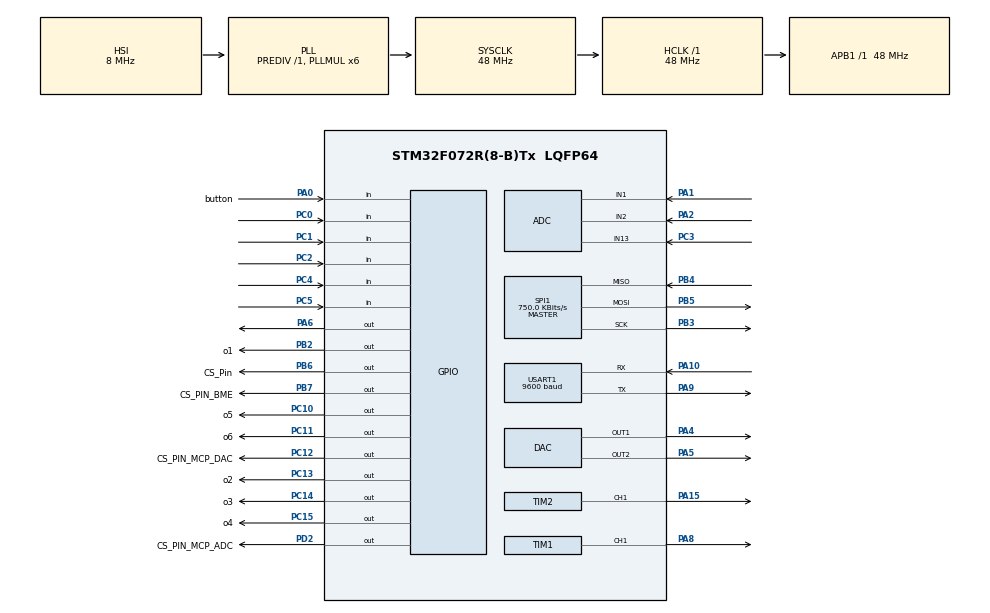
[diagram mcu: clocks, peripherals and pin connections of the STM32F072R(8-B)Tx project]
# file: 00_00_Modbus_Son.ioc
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ADC.ContinuousConvMode=DISABLE
ADC.DMAContinuousRequests=ENABLE
ADC.SamplingTime=ADC_SAMPLETIME_41CYCLES_5
Dma.ADC.0.Direction=DMA_PERIPH_TO_MEMORY
Dma.ADC.0.Instance=DMA1_Channel1
Dma.ADC.0.MemDataAlignment=DMA_MDATAALIGN_HALFWORD
Dma.ADC.0.MemInc=DMA_MINC_ENABLE
Dma.ADC.0.Mode=DMA_CIRCULAR
Dma.ADC.0.PeriphDataAlignment=DMA_PDATAALIGN_HALFWORD
Dma.ADC.0.PeriphInc=DMA_PINC_DISABLE
Dma.ADC.0.Priority=DMA_PRIORITY_MEDIUM
Dma.DAC_CH1.1.Direction=DMA_MEMORY_TO_PERIPH
Dma.DAC_CH1.1.Instance=DMA1_Channel3
Dma.DAC_CH1.1.MemDataAlignment=DMA_MDATAALIGN_HALFWORD
Dma.DAC_CH1.1.MemInc=DMA_MINC_ENABLE
Dma.DAC_CH1.1.Mode=DMA_CIRCULAR
Dma.DAC_CH1.1.PeriphDataAlignment=DMA_PDATAALIGN_HALFWORD
Dma.DAC_CH1.1.PeriphInc=DMA_PINC_DISABLE
Dma.DAC_CH1.1.Priority=DMA_PRIORITY_LOW
Dma.DAC_CH2.2.Direction=DMA_MEMORY_TO_PERIPH
Dma.DAC_CH2.2.Instance=DMA1_Channel4
Dma.DAC_CH2.2.MemDataAlignment=DMA_MDATAALIGN_HALFWORD
Dma.DAC_CH2.2.MemInc=DMA_MINC_ENABLE
Dma.DAC_CH2.2.Mode=DMA_CIRCULAR
Dma.DAC_CH2.2.PeriphDataAlignment=DMA_PDATAALIGN_HALFWORD
Dma.DAC_CH2.2.PeriphInc=DMA_PINC_DISABLE
Dma.DAC_CH2.2.Priority=DMA_PRIORITY_LOW
Dma.Request0=ADC
Dma.Request1=DAC_CH1
Dma.Request2=DAC_CH2
Mcu.Family=STM32F0
Mcu.Name=STM32F072R(8-B)Tx
Mcu.Package=LQFP64
NVIC.DMA1_Channel1_IRQn=true\:0\:0\:false\:false\:true\:false\:true
NVIC.DMA1_Channel2_3_IRQn=true\:0\:0\:false\:false\:true\:false\:true
NVIC.DMA1_Channel4_5_6_7_IRQn=true\:0\:0\:false\:false\:true\:false\:true
NVIC.TIM2_IRQn=true\:0\:0\:false\:false\:true\:true\:true
NVIC.TIM6_DAC_IRQn=true\:0\:0\:false\:false\:true\:true\:true
NVIC.USART1_IRQn=true\:0\:0\:false\:false\:true\:true\:true
PA0.GPIO_Label=button
PA0.GPIO_PuPd=GPIO_PULLDOWN
PA0.Signal=GPIO_Input
PA1.Mode=IN1
PA1.Signal=ADC_IN1
PA10.Mode=Asynchronous
PA10.Signal=USART1_RX
PA13.Mode=Serial_Wire
PA13.Signal=SYS_SWDIO
PA14.Mode=Serial_Wire
PA14.Signal=SYS_SWCLK
PA15.Signal=S_TIM2_CH1_ETR
PA2.Mode=IN2
PA2.Signal=ADC_IN2
PA4.Signal=COMP_DAC1_group
PA5.Signal=COMP_DAC2_group
PA6.Signal=GPIO_Output
PA8.Signal=S_TIM1_CH1
PA9.Mode=Asynchronous
PA9.Signal=USART1_TX
PB2.GPIO_Label=o1
PB2.Signal=GPIO_Output
PB3.Mode=Full_Duplex_Master
PB3.Signal=SPI1_SCK
PB4.Mode=Full_Duplex_Master
PB4.Signal=SPI1_MISO
PB5.Mode=Full_Duplex_Master
PB5.Signal=SPI1_MOSI
PB6.GPIO_Label=CS_Pin
PB6.Signal=GPIO_Output
PB7.GPIO_Label=CS_PIN_BME
PB7.Signal=GPIO_Output
PC0.GPIO_PuPd=GPIO_PULLDOWN
PC0.Signal=GPIO_Input
PC1.GPIO_PuPd=GPIO_PULLDOWN
PC1.Signal=GPIO_Input
PC10.GPIO_Label=o5
PC10.GPIO_Speed=GPIO_SPEED_FREQ_MEDIUM
PC10.Signal=GPIO_Output
PC11.GPIO_Label=o6
PC11.GPIO_Speed=GPIO_SPEED_FREQ_MEDIUM
PC11.Signal=GPIO_Output
PC12.GPIO_Label=CS_PIN_MCP_DAC
PC12.Signal=GPIO_Output
PC13.GPIO_Label=o2
PC13.Signal=GPIO_Output
PC14-OSC32_IN.GPIO_Label=o3
PC14-OSC32_IN.Signal=GPIO_Output
PC15-OSC32_OUT.GPIO_Label=o4
PC15-OSC32_OUT.Signal=GPIO_Output
PC2.GPIO_PuPd=GPIO_PULLDOWN
PC2.Signal=GPIO_Input
PC3.Mode=IN13
PC3.Signal=ADC_IN13
PC4.GPIO_PuPd=GPIO_PULLDOWN
PC4.Signal=GPIO_Input
PC5.GPIO_PuPd=GPIO_PULLDOWN
PC5.Signal=GPIO_Input
PD2.GPIO_Label=CS_PIN_MCP_ADC
PD2.Signal=GPIO_Output
ProjectManager.HeapSize=0x200
ProjectManager.StackSize=0x400
ProjectManager.TargetToolchain=STM32CubeIDE
RCC.AHBFreq_Value=48000000
RCC.APB1Freq_Value=48000000
RCC.APB1TimFreq_Value=48000000
RCC.HCLKFreq_Value=48000000
RCC.PLLMUL=RCC_PLL_MUL6
RCC.SYSCLKFreq_VALUE=48000000
RCC.SYSCLKSource=RCC_SYSCLKSOURCE_PLLCLK
SH.COMP_DAC1_group.0=DAC_OUT1,DAC_OUT1
SH.COMP_DAC2_group.0=DAC_OUT2,DAC_OUT2
SH.S_TIM1_CH1.0=TIM1_CH1,PWM Generation1 CH1
SH.S_TIM2_CH1_ETR.0=TIM2_CH1,PWM Generation1 CH1
SPI1.BaudRatePrescaler=SPI_BAUDRATEPRESCALER_64
SPI1.CalculateBaudRate=750.0 KBits/s
SPI1.DataSize=SPI_DATASIZE_8BIT
SPI1.Direction=SPI_DIRECTION_2LINES
SPI1.Mode=SPI_MODE_MASTER
SPI1.VirtualType=VM_MASTER
TIM1.Channel-PWM\ Generation1\ CH1=TIM_CHANNEL_1
TIM1.Period=99
TIM2.Channel-PWM\ Generation1\ CH1=TIM_CHANNEL_1
TIM2.Period=99
TIM2.Prescaler=0
TIM6.AutoReloadPreload=TIM_AUTORELOAD_PRELOAD_ENABLE
TIM6.Period=4700
USART1.BaudRate=9600
USART1.VirtualMode-Asynchronous=VM_ASYNC
VP_TIM6_VS_ClockSourceINT.Mode=Enable_Timer
board=STM32F072B-DISCO

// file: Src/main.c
/* USER CODE BEGIN Header */
/**
  ******************************************************************************
  * @file           : main.c
  * @brief          : Main program body
  ******************************************************************************
  * @attention
  *
  * Copyright (c) 2022 STMicroelectronics.
  * All rights reserved.
  *
  * This software is licensed under terms that can be found in the LICENSE file
  * in the root directory of this software component.
  * If no LICENSE file comes with this software, it is provided AS-IS.
  *
  ******************************************************************************
  */
/* USER CODE END Header */
#include "main.h"
#include "adc.h"
#include "dac.h"
#include "dma.h"
#include "spi.h"
#include "tim.h"
#include "usart.h"
#include "gpio.h"

/* USER CODE BEGIN Includes */
#include "application.h"
#include "modbus_function.h"
#include "project_spi.h"
#include "mcp.h"
/* USER CODE END Includes */

void SystemClock_Config(void);

int main(void)
{

  /* MCU Configuration--------------------------------------------------------*/

  /* Reset of all peripherals, Initializes the Flash interface and the Systick. */
  HAL_Init();

  /* Configure the system clock */
  SystemClock_Config();

  /* Initialize all configured peripherals */
  MX_GPIO_Init();
  MX_TIM6_Init();
  MX_DMA_Init();
  MX_ADC_Init();
  MX_USART1_UART_Init();
  MX_DAC_Init();
  MX_TIM2_Init();
  MX_SPI1_Init();
  MX_TIM1_Init();
  /* USER CODE BEGIN 2 */
  HAL_DAC_Start(&hdac,DAC_CHANNEL_1);
  HAL_DAC_Start(&hdac,DAC_CHANNEL_2);

  /* USER CODE END 2 */

  /* Infinite loop */
  while (1)
  {

    /* USER CODE BEGIN 3 */
	 // Process_Spi();
	  MCP3208();
	  MCP4911_Write();

	  PWM_Initialize();
	  Data_ADC();
	  GPIO_INPUT();

	  if (!Rx_Stop_CTRL())
	  {
		  FirstReceive();
	  }

	  General_Main();
	  Data_DAC();
	  GPIO_OUTPUT();

  }
  /* USER CODE END 3 */
}

void SystemClock_Config(void)
{
  RCC_OscInitTypeDef RCC_OscInitStruct = {0};
  RCC_ClkInitTypeDef RCC_ClkInitStruct = {0};
  RCC_PeriphCLKInitTypeDef PeriphClkInit = {0};

  /** Initializes the RCC Oscillators according to the specified parameters
  * in the RCC_OscInitTypeDef structure.
  */
  RCC_OscInitStruct.OscillatorType = RCC_OSCILLATORTYPE_HSI|RCC_OSCILLATORTYPE_HSI14;
  RCC_OscInitStruct.HSIState = RCC_HSI_ON;
  RCC_OscInitStruct.HSI14State = RCC_HSI14_ON;
  RCC_OscInitStruct.HSICalibrationValue = RCC_HSICALIBRATION_DEFAULT;
  RCC_OscInitStruct.HSI14CalibrationValue = 16;
  RCC_OscInitStruct.PLL.PLLState = RCC_PLL_ON;
  RCC_OscInitStruct.PLL.PLLSource = RCC_PLLSOURCE_HSI;
  RCC_OscInitStruct.PLL.PLLMUL = RCC_PLL_MUL6;
  RCC_OscInitStruct.PLL.PREDIV = RCC_PREDIV_DIV1;
  if (HAL_RCC_OscConfig(&RCC_OscInitStruct) != HAL_OK)
  {
    Error_Handler();
  }
  /** Initializes the CPU, AHB and APB buses clocks
  */
  RCC_ClkInitStruct.ClockType = RCC_CLOCKTYPE_HCLK|RCC_CLOCKTYPE_SYSCLK
                              |RCC_CLOCKTYPE_PCLK1;
  RCC_ClkInitStruct.SYSCLKSource = RCC_SYSCLKSOURCE_PLLCLK;
  RCC_ClkInitStruct.AHBCLKDivider = RCC_SYSCLK_DIV1;
  RCC_ClkInitStruct.APB1CLKDivider = RCC_HCLK_DIV1;

  if (HAL_RCC_ClockConfig(&RCC_ClkInitStruct, FLASH_LATENCY_1) != HAL_OK)
  {
    Error_Handler();
  }
  PeriphClkInit.PeriphClockSelection = RCC_PERIPHCLK_USART1;
  PeriphClkInit.Usart1ClockSelection = RCC_USART1CLKSOURCE_PCLK1;
  if (HAL_RCCEx_PeriphCLKConfig(&PeriphClkInit) != HAL_OK)
  {
    Error_Handler();
  }
}

void Error_Handler(void)
{
  __disable_irq();
  while (1)
  {
  }
}
